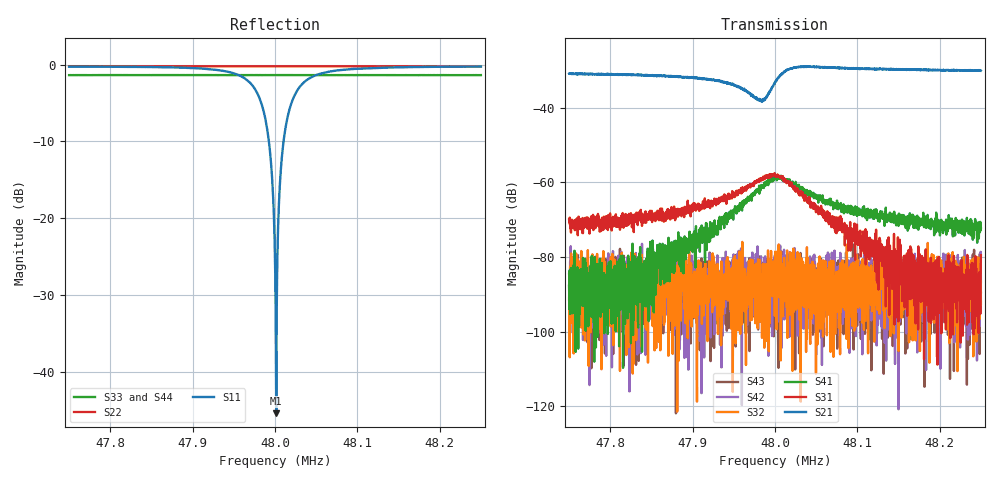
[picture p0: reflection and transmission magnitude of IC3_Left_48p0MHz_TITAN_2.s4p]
#  HZ  S  DB  R  50.00
! Rohde & Schwarz Vector Network Analyzer
! Rohde-Schwarz,ZNB8-4Port,1311601044102961,2.82
! Created: UTC 2/8/2019, 3:30:37 PM
! freq[Hz]  db:S11  ang:S11  db:S12  ang:S12  db:S13  ang:S13  db:S14  ang:S14
!  db:S21  ang:S21  db:S22  ang:S22  db:S23  ang:S23  db:S24  ang:S24
!  db:S31  ang:S31  db:S32  ang:S32  db:S33  ang:S33  db:S34  ang:S34
!  db:S41  ang:S41  db:S42  ang:S42  db:S43  ang:S43  db:S44  ang:S44
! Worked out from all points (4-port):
!   2001 points, 47.75 MHz to 48.25 MHz, reference 50 ohm
!   strongest paths, dB at 47.75 MHz, 47.875 MHz, 48 MHz, 48.125 MHz, 48.25 MHz:
!     S21: -30.8, -31.5, -33.2, -29.7, -30.0
!     S31: -70.0, -69.6, -58.3, -77.0, -79.5
!     S41: -87.7, -81.6, -59.1, -68.6, -72.4
!     S32: -91.5, -85.5, -82.3, -88.0, -92.4
!     S42: -84.3, -93.4, -86.6, -98.1, -86.7
!     S43: -87.7, -91.7, -84.5, -90.3, -89.4
!   lowest |S11| = -45.4 dB at 48.002 MHz (marker M1), VSWR 1.01, Z = 49.6 + j0.297 ohm
!   |S11| at or under -10 dB: 47.99257 MHz to 48.01039 MHz (17.82 kHz wide, 0.0371 % of centre)
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4.775e7  -0.27 5.4  -30.81 -142.5  -74.30 -21.4  -87.33 44.0
         -30.84 -142.7  -0.22 -110.7  -92.46 89.9  -95.85 65.0
         -69.98 -11.7  -91.46 145.1  -1.38 141.1  -83.68 -144.2
         -87.75 12.4  -84.33 52.7  -87.67 152.5  -1.33 135.3
4.796975e7  -2.38 -38.0  -36.32 -149.0  -60.90 -56.5  -63.58 113.6
            -36.21 -148.9  -0.21 -115.2  -84.65 -17.0  -91.57 -24.2
            -60.49 -60.0  -83.90 56.0  -1.37 138.4  -88.17 16.5
            -63.77 114.1  -85.11 -121.2  -93.16 -126.7  -1.32 132.7
4.799175e7  -9.32 -70.1  -36.26 -103.4  -58.44 -86.8  -60.01 86.2
            -36.12 -103.7  -0.22 -115.7  -89.07 10.3  -81.22 -156.0
            -58.54 -87.8  -80.10 140.7  -1.37 138.1  -91.10 143.3
            -60.71 80.5  -81.21 -23.3  -88.44 -176.1  -1.32 132.4
4.80015e7  -45.42 146.0  -32.73 -98.0  -58.29 -109.1  -58.58 62.3
           -32.72 -98.2  -0.23 -115.8  -89.18 53.6  -80.53 -143.2
           -58.07 -108.5  -84.80 67.9  -1.37 138.0  -86.77 4.9
           -58.73 62.8  -83.38 -130.2  -93.51 -14.0  -1.32 132.3
4.8011e7  -9.50 69.9  -30.41 -105.7  -58.76 -125.4  -59.61 41.6
          -30.47 -105.5  -0.23 -116.0  -81.17 -2.0  -89.69 -50.7
          -58.81 -127.7  -80.20 19.1  -1.36 137.9  -84.31 117.7
          -58.95 41.6  -78.03 173.0  -89.92 -35.8  -1.32 132.2
4.8033e7  -2.54 38.7  -29.01 -124.5  -63.67 -155.6  -61.70 10.1
          -29.00 -124.3  -0.22 -116.5  -85.77 -142.0  -80.12 100.3
          -63.29 -157.1  -86.33 -51.7  -1.36 137.6  -82.35 5.6
          -61.54 12.2  -82.27 166.6  -83.44 -166.1  -1.32 131.9
4.825e7  -0.25 -3.5  -29.96 -151.8  -89.76 -60.0  -72.35 -27.6
         -30.03 -151.8  -0.24 -120.9  -86.98 100.7  -81.87 -170.4
         -79.48 -40.1  -92.42 -124.6  -1.37 135.0  -86.10 -63.4
         -72.36 -25.6  -86.72 10.3  -89.42 141.9  -1.32 129.2
